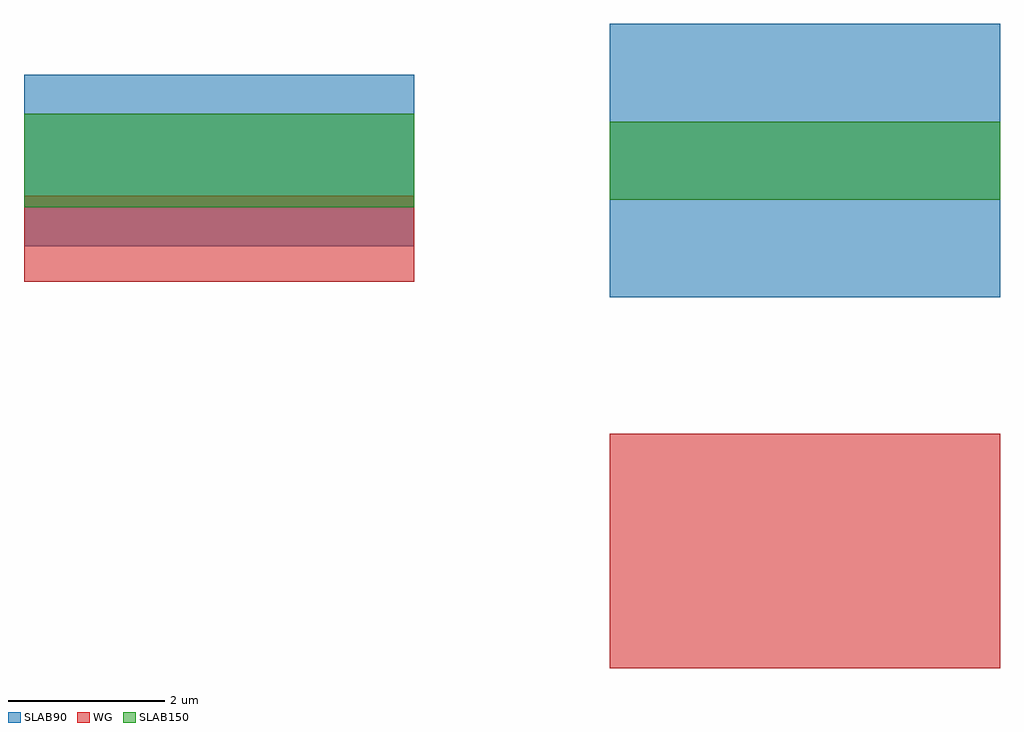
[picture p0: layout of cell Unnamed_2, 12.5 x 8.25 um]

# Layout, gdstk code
import gdstk
lib = gdstk.Library(unit=1e-6, precision=1e-09)
def R(c, l, rs):  # rectangles x0, y0, x1, y1
    for r in rs: c.add(gdstk.rectangle(r[:2], r[2:], *l))
WG = (1, 0)
SLAB150 = (2, 0)
SLAB90 = (3, 0)

unnamed_1 = lib.new_cell('Unnamed_1')
R(unnamed_1, WG, [(0,-6.5,5,-3.5)])
R(unnamed_1, SLAB150, [(0,-0.5,5,0.5)])
R(unnamed_1, SLAB90, [(0,-1.75,5,1.75)])

unnamed_0 = lib.new_cell('Unnamed_0')
R(unnamed_0, WG, [(0,-1.55,5,-0.45)])
R(unnamed_0, SLAB150, [(0,-0.6,5,0.6)])
R(unnamed_0, SLAB90, [(0,-1.1,5,1.1)])

unnamed_2 = lib.new_cell('Unnamed_2')
unnamed_2.add(gdstk.Reference(unnamed_1, (7.5,0)))
unnamed_2.add(gdstk.Reference(unnamed_0, (0,0)))

lib.write_gds('Unnamed_2.gds')
